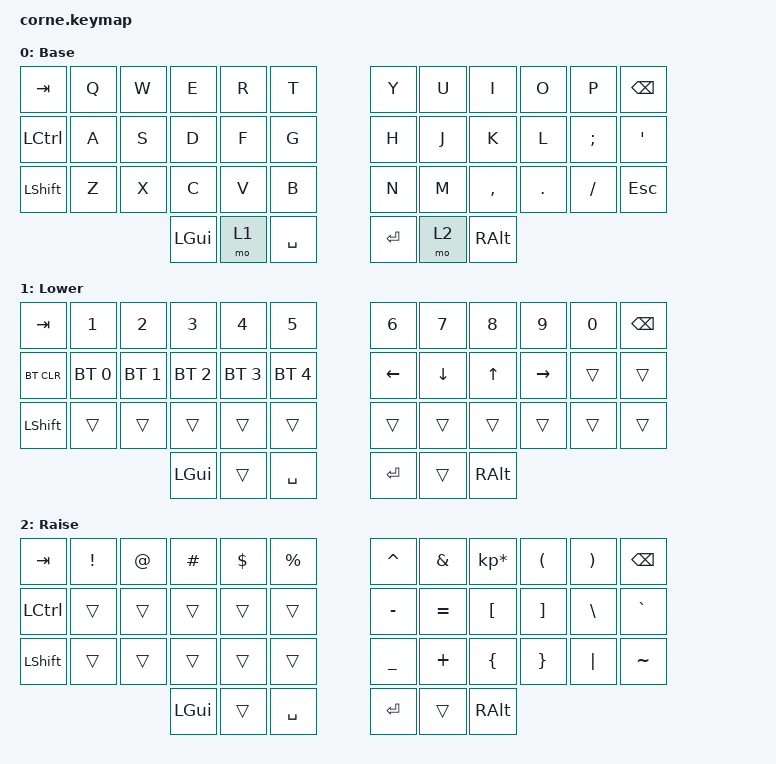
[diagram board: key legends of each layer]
/*
 * Copyright (c) 2020 The ZMK Contributors
 *
 * SPDX-License-Identifier: MIT
 */

#include <behaviors.dtsi>
#include <dt-bindings/zmk/keys.h>
#include <dt-bindings/zmk/bt.h>

/ {
        keymap {
                compatible = "zmk,keymap";

                default_layer {
// -----------------------------------------------------------------------------------------
// |  TAB |  Q  |  W  |  E  |  R  |  T  |   |  Y  |  U   |  I  |  O  |  P  | BKSP |
// | CTRL |  A  |  S  |  D  |  F  |  G  |   |  H  |  J   |  K  |  L  |  ;  |  '   |
// | SHFT |  Z  |  X  |  C  |  V  |  B  |   |  N  |  M   |  ,  |  .  |  /  | ESC  |
//                    | GUI | LWR | SPC |   | ENT | RSE  | ALT |
                        display-name = "Base";
                        bindings = <
   &kp TAB   &kp Q &kp W &kp E &kp R &kp T   &kp Y &kp U  &kp I     &kp O   &kp P    &kp BSPC
   &kp LCTRL &kp A &kp S &kp D &kp F &kp G   &kp H &kp J  &kp K     &kp L   &kp SEMI &kp SQT
   &kp LSHFT &kp Z &kp X &kp C &kp V &kp B   &kp N &kp M  &kp COMMA &kp DOT &kp FSLH &kp ESC
                  &kp LGUI &mo 1 &kp SPACE   &kp RET &mo 2 &kp RALT
                        >;
                };
                lower_layer {
// -----------------------------------------------------------------------------------------
// |  TAB |  1  |  2  |  3  |  4  |  5  |   |  6  |  7  |  8  |  9  |  0  | BKSP |
// | BTCLR| BT1 | BT2 | BT3 | BT4 | BT5 |   | LFT | DWN |  UP | RGT |     |      |
// | SHFT |     |     |     |     |     |   |     |     |     |     |     |      |
//                    | GUI |     | SPC |   | ENT |     | ALT |
                        display-name = "Lower";
                        bindings = <
   &kp TAB    &kp N1       &kp N2       &kp N3       &kp N4       &kp N5         &kp N6   &kp N7   &kp N8 &kp N9    &kp N0 &kp BSPC
   &bt BT_CLR &bt BT_SEL 0 &bt BT_SEL 1 &bt BT_SEL 2 &bt BT_SEL 3 &bt BT_SEL 4   &kp LEFT &kp DOWN &kp UP &kp RIGHT &trans &trans
   &kp LSHFT  &trans       &trans       &trans       &trans       &trans         &trans   &trans   &trans &trans    &trans &trans
                          	        &kp LGUI     &trans       &kp SPACE      &kp RET  &trans   &kp RALT
                        >;
                };

                raise_layer {
// -----------------------------------------------------------------------------------------
// |  TAB |  !  |  @  |  #  |  $  |  %  |   |  ^  |  &  |  *  |  (  |  )  | BKSP |
// | CTRL |     |     |     |     |     |   |  -  |  =  |  [  |  ]  |  \  |  `   |
// | SHFT |     |     |     |     |     |   |  _  |  +  |  {  |  }  | "|" |  ~   |
//                    | GUI |     | SPC |   | ENT |     | ALT |
                        display-name = "Raise";
                        bindings = <
   &kp  TAB  &kp EXCL &kp AT &kp HASH &kp DLLR &kp PRCNT   &kp CARET &kp AMPS  &kp KP_MULTIPLY &kp LPAR &kp RPAR &kp BSPC
   &kp LCTRL &trans   &trans &trans   &trans   &trans      &kp MINUS &kp EQUAL &kp LBKT        &kp RBKT &kp BSLH &kp GRAVE
   &kp LSHFT &trans   &trans &trans   &trans   &trans      &kp UNDER &kp PLUS  &kp LBRC        &kp RBRC &kp PIPE &kp TILDE
                    	     &kp LGUI &trans   &kp SPACE   &kp RET   &trans    &kp RALT
                        >;
                };

                extra_1 {
                        status = "reserved";
                };

                extra_2 {
                        status = "reserved";
                };

                extra_3 {
                        status = "reserved";
                };
        };
};

&spi1 {
    status = "okay";

    ws2812: ws2812@0 {
        compatible = "worldsemi,ws2812-spi";
        label = "WS2812";
        reg = <0>;
        spi-max-frequency = <4000000>;
        chain-length = <54>;   // total de LEDs
        color-mapping = <LED_COLOR_MAPPING_RGB>;
    };
};

&rgb_underglow {
    status = "okay";
    led-strip = <&ws2812>;
    chain-length = <54>;   // mismo número
};


&kp RGB_TOG  // enciende/apaga
&kp RGB_HUI  // sube hue (cambia color)
&kp RGB_SAD  // baja saturación (si lo bajas a 0 = blanco)
&kp RGB_BRI  // sube brillo

&rgb_underglow {
    status = "okay";
    led-strip = <&ws2812>;
    chain-length = <54>;

    // fuerza encendido en arranque
    color = <255 255 255>;   // blanco
    brightness = <255>;
};
